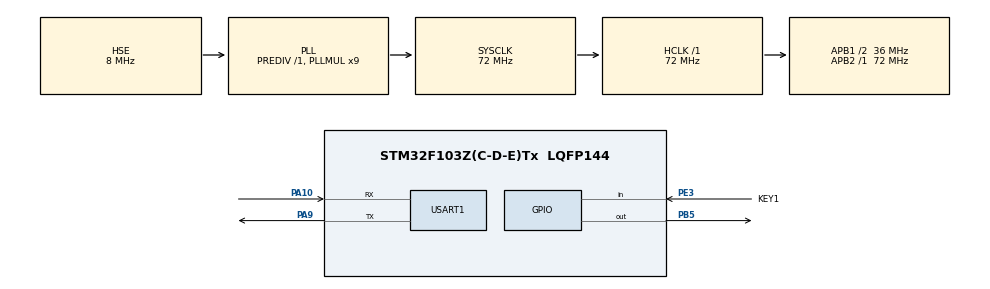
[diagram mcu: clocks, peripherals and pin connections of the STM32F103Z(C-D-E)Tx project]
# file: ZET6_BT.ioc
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Dma.Request0=USART1_RX
Dma.USART1_RX.0.Direction=DMA_PERIPH_TO_MEMORY
Dma.USART1_RX.0.Instance=DMA1_Channel5
Dma.USART1_RX.0.MemDataAlignment=DMA_MDATAALIGN_BYTE
Dma.USART1_RX.0.MemInc=DMA_MINC_ENABLE
Dma.USART1_RX.0.Mode=DMA_CIRCULAR
Dma.USART1_RX.0.PeriphDataAlignment=DMA_PDATAALIGN_BYTE
Dma.USART1_RX.0.PeriphInc=DMA_PINC_DISABLE
Dma.USART1_RX.0.Priority=DMA_PRIORITY_MEDIUM
Mcu.Family=STM32F1
Mcu.Name=STM32F103Z(C-D-E)Tx
Mcu.Package=LQFP144
NVIC.DMA1_Channel5_IRQn=true\:0\:0\:false\:false\:true\:false\:true\:true
NVIC.PriorityGroup=NVIC_PRIORITYGROUP_4
NVIC.USART1_IRQn=true\:0\:0\:false\:false\:true\:true\:true\:true
OSC_IN.Mode=HSE-External-Oscillator
OSC_IN.Signal=RCC_OSC_IN
OSC_OUT.Mode=HSE-External-Oscillator
OSC_OUT.Signal=RCC_OSC_OUT
PA10.Mode=Asynchronous
PA10.Signal=USART1_RX
PA13.Mode=Serial_Wire
PA13.Signal=SYS_JTMS-SWDIO
PA14.Mode=Serial_Wire
PA14.Signal=SYS_JTCK-SWCLK
PA9.Mode=Asynchronous
PA9.Signal=USART1_TX
PB5.GPIO_PuPd=GPIO_NOPULL
PB5.GPIO_Speed=GPIO_SPEED_FREQ_HIGH
PB5.PinState=GPIO_PIN_SET
PB5.Signal=GPIO_Output
PC14-OSC32_IN.Mode=LSE-External-Oscillator
PC14-OSC32_IN.Signal=RCC_OSC32_IN
PC15-OSC32_OUT.Mode=LSE-External-Oscillator
PC15-OSC32_OUT.Signal=RCC_OSC32_OUT
PE3.GPIO_Label=KEY1
PE3.GPIO_PuPd=GPIO_PULLUP
PE3.Signal=GPIO_Input
ProjectManager.HeapSize=0x200
ProjectManager.StackSize=0x400
ProjectManager.TargetToolchain=MDK-ARM V5.32
RCC.AHBFreq_Value=72000000
RCC.APB1CLKDivider=RCC_HCLK_DIV2
RCC.APB1Freq_Value=36000000
RCC.APB1TimFreq_Value=72000000
RCC.APB2Freq_Value=72000000
RCC.APB2TimFreq_Value=72000000
RCC.HCLKFreq_Value=72000000
RCC.PLLMUL=RCC_PLL_MUL9
RCC.PLLSourceVirtual=RCC_PLLSOURCE_HSE
RCC.SYSCLKFreq_VALUE=72000000
RCC.SYSCLKSource=RCC_SYSCLKSOURCE_PLLCLK
RCC.USBFreq_Value=72000000
USART1.VirtualMode=VM_ASYNC
board=custom

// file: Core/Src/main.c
/* USER CODE BEGIN Header */
/**
  ******************************************************************************
  * @file           : main.c
  * @brief          : Ymodem OTA：USART1 DMA -> FIFO；协议层从 FIFO 读并写 Flash。
  ******************************************************************************
  */
/* USER CODE END Header */
#include "main.h"
#include "dma.h"
#include "usart.h"
#include "gpio.h"

/* USER CODE BEGIN Includes */
#include <stdio.h>
#include "MY_USART.h"
#include "MY_Ymodem.h"
/* USER CODE END Includes */

/* USER CODE BEGIN PTD */
// 定义函数指针类型，对应代码中的__func，用于指向APP的复位中断函数
typedef void (*__func)(void);

typedef struct {
    uint8_t active_partition;
    uint8_t upgrade_status;
} upgrade_flag_t;

/* USER CODE END PTD */

/* USER CODE BEGIN PD */

#define IDLE_FLAG              0x00// 空闲状态
#define START_UPGRADE_FLAG     0x01// 刚开始升级
#define FIRMWARE_BURNED_FLAG   0x02// 完成固件烧录

volatile uint8_t upgrade_flag_Ymodem = 0;

#define APP_ADDR_A      0x08004000// A 区起始地址
#define APP_ADDR_B      0x08008000// B 区起始地址

#define PARTITION_A     0// A 区
#define PARTITION_B     1// B 区
//标志位区宏定义
#define  FLAG_ADDRESS    0x0800F000// 标志位存储地址，位于最后一个扇区

#define KEY1_GPIO_PORT    GPIOE
#define KEY1_GPIO_PIN     GPIO_PIN_3

/* USER CODE END PD */

void SystemClock_Config(void);
/* USER CODE BEGIN PFP */
uint8_t KEY1_Scan(void);
void JumpToApp(uint32_t appBase);
void read_upgrade_flag(upgrade_flag_t *upgrade_flag);

void Update_flag_states(uint8_t status);
void Update_flag_partition(uint8_t partition);
uint8_t Flash_CheckData(uint32_t addr);
//static void OTA_PrintResult(int code);
/* USER CODE END PFP */

/* USER CODE BEGIN 0 */
upgrade_flag_t upgrade_flag={0xA5,0xA5};
/* USER CODE END 0 */

int main(void)
{

  /* MCU Configuration--------------------------------------------------------*/

  /* Reset of all peripherals, Initializes the Flash interface and the Systick. */
  HAL_Init();

  /* Configure the system clock */
  SystemClock_Config();

  /* Initialize all configured peripherals */
  MX_GPIO_Init();
  MX_DMA_Init();
  MX_USART1_UART_Init();
  /* USER CODE BEGIN 2 */
  Init_USART();

//------------------------------------查看是否是新设备-------------------------
  if (0x00 == Flash_CheckData(FLAG_ADDRESS + offsetof(upgrade_flag_t, active_partition))
      && 0x00 == Flash_CheckData(FLAG_ADDRESS + offsetof(upgrade_flag_t, upgrade_status)))
  {

      Update_flag_partition(PARTITION_B);//AB区都没有，先认为B区有，让更新到A区去
      Update_flag_states(START_UPGRADE_FLAG);

  }//NO APP
//---------------------------------------------------------------------------

  //查看当前APP运行位置
  read_upgrade_flag(&upgrade_flag);
  printf("Current active partition: %s\r\n", (upgrade_flag.active_partition == PARTITION_A) ? "A" : "B");

  //------------------------------------------------------------------------------
  //实现断点续传功能：如果上次升级完成但未跳转，直接跳转到APP区；
  //如果上次只是完成固件下载升级未完成，则进入升级检查流程，校验固件是否正确
  switch(upgrade_flag.upgrade_status)
  {
      case IDLE_FLAG:
//----------------------------------按键模拟版本检查--------------------------------
    printf("Please press the KEY1 button within 2 seconds to enter OTA mode.\r\n");
    uint32_t previous_time = HAL_GetTick();//获取当前时钟
    while(1)
    {
        if (HAL_GetTick() - previous_time <= 2000 && KEY1_Scan())
        {
            upgrade_flag_Ymodem=1;
            //跳转到OTA模式
            //将信息直接写道标志位区，APP区的代码会根据这个标志位来决定是否进入升级流程
            Update_flag_states(START_UPGRADE_FLAG);
            break;
        }
        if(HAL_GetTick() - previous_time > 2000)
        {
          uint32_t app_addr = (upgrade_flag.active_partition == PARTITION_A) ? APP_ADDR_A : APP_ADDR_B;
          JumpToApp(app_addr);
        }
    }
//----------------------------------按键模拟版本检查 end --------------------------------
          break;
      case START_UPGRADE_FLAG:
            printf("Start fetching the new version again");
            upgrade_flag_Ymodem=1;
            //如果上次刚开始升级，说明还未完成固件烧录，继续进入升级流程
          break;
      case FIRMWARE_BURNED_FLAG:
          //回滚:返回上一版本，并尝试再此获取新版本
            printf("Roll back to the previous version");
            Update_flag_partition((upgrade_flag.active_partition == PARTITION_A) ? PARTITION_B : PARTITION_A);
            Update_flag_states(START_UPGRADE_FLAG);
            upgrade_flag_Ymodem=1;
          //如果上次只是完成固件下载升级未完成，则进入升级检查流程，校验固件是否正确
          break;
  }
//------------------------------------------------------------------------------

if(upgrade_flag_Ymodem==1)
{
  upgrade_flag_Ymodem=0;
//-------------------------------接收新固件----------------------------------
    printf("\r\n\r\n*** STM32 Ymodem OTA ***\r\n");
    printf("UART1 %lu baud | DMA circular RX | IDLE + HT/TC -> FIFO\r\n", (unsigned long)huart1.Init.BaudRate);
    printf("Target Flash: %08lX\r\n", (upgrade_flag.active_partition == PARTITION_A) ? APP_ADDR_A : APP_ADDR_B);
    printf("Send firmware (Ymodem-1K CRC)...\r\n");

    int ret = MY_ymodem_ReceiveBinToFlash((upgrade_flag.active_partition == PARTITION_A) ? APP_ADDR_B : APP_ADDR_A);
    if (ret==OTA_OK)
    {
      //烧录完成，更新分区
      Update_flag_partition((upgrade_flag.active_partition == PARTITION_A) ? PARTITION_B : PARTITION_A);
      Update_flag_states(FIRMWARE_BURNED_FLAG);//完成固件烧录
      printf("Upgrade complete.\r\n");

      if(upgrade_flag.upgrade_status == FIRMWARE_BURNED_FLAG)
      {
          //跳转到APP区
          // 根据分区号选择地址
          uint32_t app_addr = (upgrade_flag.active_partition == PARTITION_A) ? APP_ADDR_A : APP_ADDR_B;
          JumpToApp(app_addr);//跳转到APP运行  如果APP在运行的中期能将标志位改为空闲（IDLE_FLAG），则认为代码能正常运行
      }
    }
//-------------------------------接收新固件end----------------------------------
}

  /* USER CODE END 2 */

  /* Infinite loop */
  while (1)
  {
      HAL_Delay(500);
      printf("while(1)！！！！！！\r\n");
  }
}

void SystemClock_Config(void)
{
  RCC_OscInitTypeDef RCC_OscInitStruct = {0};
  RCC_ClkInitTypeDef RCC_ClkInitStruct = {0};

  /** Initializes the RCC Oscillators according to the specified parameters
  * in the RCC_OscInitTypeDef structure.
  */
  RCC_OscInitStruct.OscillatorType = RCC_OSCILLATORTYPE_HSE;
  RCC_OscInitStruct.HSEState = RCC_HSE_ON;
  RCC_OscInitStruct.HSEPredivValue = RCC_HSE_PREDIV_DIV1;
  RCC_OscInitStruct.HSIState = RCC_HSI_ON;
  RCC_OscInitStruct.PLL.PLLState = RCC_PLL_ON;
  RCC_OscInitStruct.PLL.PLLSource = RCC_PLLSOURCE_HSE;
  RCC_OscInitStruct.PLL.PLLMUL = RCC_PLL_MUL9;
  if (HAL_RCC_OscConfig(&RCC_OscInitStruct) != HAL_OK)
  {
    Error_Handler();
  }

  /** Initializes the CPU, AHB and APB buses clocks
  */
  RCC_ClkInitStruct.ClockType = RCC_CLOCKTYPE_HCLK|RCC_CLOCKTYPE_SYSCLK
                              |RCC_CLOCKTYPE_PCLK1|RCC_CLOCKTYPE_PCLK2;
  RCC_ClkInitStruct.SYSCLKSource = RCC_SYSCLKSOURCE_PLLCLK;
  RCC_ClkInitStruct.AHBCLKDivider = RCC_SYSCLK_DIV1;
  RCC_ClkInitStruct.APB1CLKDivider = RCC_HCLK_DIV2;
  RCC_ClkInitStruct.APB2CLKDivider = RCC_HCLK_DIV1;

  if (HAL_RCC_ClockConfig(&RCC_ClkInitStruct, FLASH_LATENCY_2) != HAL_OK)
  {
    Error_Handler();
  }
}

/* USER CODE BEGIN 4 */
// KEY1 按键扫描函数（返回1表示按下，0表示未按下）
uint8_t KEY1_Scan(void)
{
    if(HAL_GPIO_ReadPin(KEY1_GPIO_PORT, KEY1_GPIO_PIN) == GPIO_PIN_RESET)
    {
        HAL_Delay(20); // 软件消抖
        if(HAL_GPIO_ReadPin(KEY1_GPIO_PORT, KEY1_GPIO_PIN) == GPIO_PIN_RESET)
        {
            while(HAL_GPIO_ReadPin(KEY1_GPIO_PORT, KEY1_GPIO_PIN) == GPIO_PIN_RESET); // 等待按键松开
            HAL_GPIO_WritePin(GPIOB, GPIO_PIN_5, GPIO_PIN_RESET);
            return 1;
        }
    }
    return 0;
}

void Update_flag_states(uint8_t status)
{
  upgrade_flag.upgrade_status = status;
  my_flash_write(FLAG_ADDRESS + offsetof(upgrade_flag_t, upgrade_status), (uint8_t *)&upgrade_flag.upgrade_status, sizeof(upgrade_flag.upgrade_status));
}

void Update_flag_partition(uint8_t partition)
{
  upgrade_flag.active_partition = partition;
  my_flash_write(FLAG_ADDRESS + offsetof(upgrade_flag_t, active_partition), (uint8_t *)&upgrade_flag.active_partition, sizeof(upgrade_flag.active_partition));
}

/**
 * @brief  恢复所有GPIO为默认浮空输入状态，避免跳转后引脚电平异常
 * @note   适配正点原子STM32F1战舰板（STM32F103ZET6）全GPIO端口
 */
void all_gpio_init_default(void)
{
    GPIO_InitTypeDef GPIO_InitStruct = {0};

    // 使能所有GPIO端口时钟
    __HAL_RCC_GPIOA_CLK_ENABLE();
    __HAL_RCC_GPIOB_CLK_ENABLE();
    __HAL_RCC_GPIOC_CLK_ENABLE();
    __HAL_RCC_GPIOD_CLK_ENABLE();
    __HAL_RCC_GPIOE_CLK_ENABLE();
    __HAL_RCC_GPIOF_CLK_ENABLE();
    __HAL_RCC_GPIOG_CLK_ENABLE();

    // 配置所有引脚为复位默认状态：浮空输入
    GPIO_InitStruct.Pin = GPIO_PIN_All;
    GPIO_InitStruct.Mode = GPIO_MODE_INPUT;
    GPIO_InitStruct.Pull = GPIO_NOPULL;

    HAL_GPIO_Init(GPIOA, &GPIO_InitStruct);
    HAL_GPIO_Init(GPIOB, &GPIO_InitStruct);
    HAL_GPIO_Init(GPIOC, &GPIO_InitStruct);
    HAL_GPIO_Init(GPIOD, &GPIO_InitStruct);
    HAL_GPIO_Init(GPIOE, &GPIO_InitStruct);
    HAL_GPIO_Init(GPIOF, &GPIO_InitStruct);
    HAL_GPIO_Init(GPIOG, &GPIO_InitStruct);

    // 可选：关闭GPIO时钟，APP会重新初始化
    __HAL_RCC_GPIOA_CLK_DISABLE();
    __HAL_RCC_GPIOB_CLK_DISABLE();
    __HAL_RCC_GPIOC_CLK_DISABLE();
    __HAL_RCC_GPIOD_CLK_DISABLE();
    __HAL_RCC_GPIOE_CLK_DISABLE();
    __HAL_RCC_GPIOF_CLK_DISABLE();
    __HAL_RCC_GPIOG_CLK_DISABLE();
}

/**
  * @brief  检查Flash指定地址是否存在有效数据（空=0xFFFFFFFF）
  * @param  addr: 要检查的Flash地址
  * @retval 0: 无数据（空）  1: 有数据
  */
uint8_t Flash_CheckData(uint32_t addr)
{
    // 读取32位数据（STM32 Flash 按字读取最稳定）
    uint32_t data = *(uint32_t *)addr;

    // 空Flash = 0xFFFFFFFF → 无数据
    if(data == 0xFFFFFFFF)
    {
        return 0;  // 无数据
    }
    else
    {
        return 1;  // 有数据
    }
}

typedef void (*pFunc)(void);
void JumpToApp(uint32_t appBase)
{
    all_gpio_init_default();
    uint32_t sp = *(uint32_t *)appBase;
    uint32_t pc = *(uint32_t *)(appBase + 4);

    if ((sp & 0x2FFE0000) != 0x20000000)
        return;

    __disable_irq();

    SCB->ICSR |= SCB_ICSR_PENDSVCLR_Msk;   /* 清 PendSV 挂起 */

#if defined(USE_FREERTOS)  /*如果使用FreeRTOS*/
    vTaskEndScheduler();    /*关闭任务调度器*/
#endif

    SysTick->CTRL = 0;
    SysTick->LOAD = 0;
    SysTick->VAL  = 0;

    SCB->VTOR=0x8002000U;

    __set_MSP(sp);
    ((pFunc)pc)();          // 跳过去永不返回
}

void read_upgrade_flag(upgrade_flag_t *upgrade_flag)
{
    // 1. 读取 active_partition：从 FLAG_ADDRESS 取 1 字节
    upgrade_flag->active_partition = *(volatile uint8_t *)FLAG_ADDRESS;
    // 2. 读取 upgrade_status：从 FLAG_ADDRESS + 1 取 1 字节
    upgrade_flag->upgrade_status = *(volatile uint8_t *)(FLAG_ADDRESS + sizeof(uint8_t));
}

/* USER CODE END 4 */

void Error_Handler(void)
{
  __disable_irq();
  while (1)
  {
  }
}
